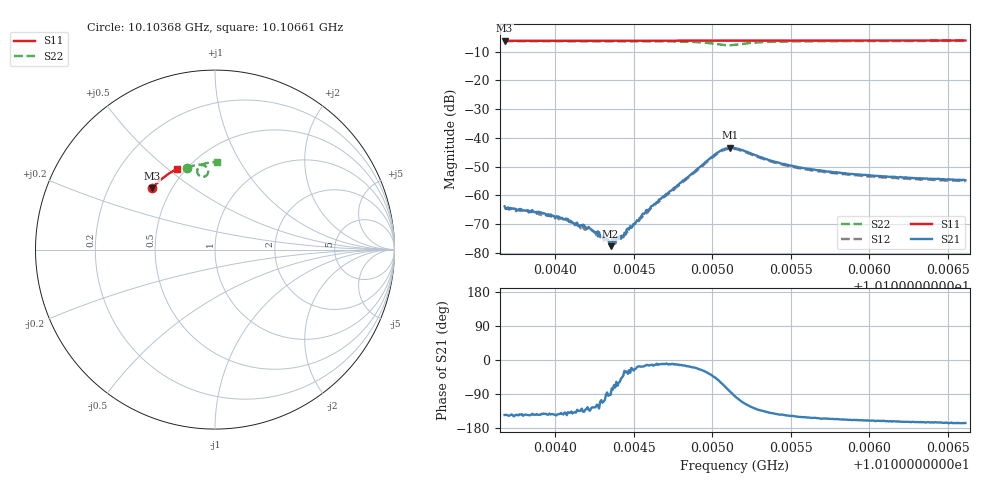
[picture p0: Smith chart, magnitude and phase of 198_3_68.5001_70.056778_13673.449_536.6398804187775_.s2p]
#  HZ  S  RI  R  50.00
! Rohde & Schwarz Vector Network Analyzer
! Rohde-Schwarz,ZNB20-2Port,1311601062101988,3.16
! Created: UTC 3/20/2024, 5:12:38 PM
! freq[Hz]  re:S11  im:S11  re:S21  im:S21  re:S12  im:S12  re:S22  im:S22
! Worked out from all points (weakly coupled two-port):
!   401 points, 10.10368 GHz to 10.10661 GHz, reference 50 ohm
!   highest |S21| = -43.37 dB at 10.10511 GHz (marker M1); lowest = -77.7 dB at 10.10435 GHz (marker M2)
!   lowest |S11| = -6.2 dB at 10.10368 GHz (marker M3), VSWR 2.92, Z = 19.5 + j17.5 ohm
!   |S11| at or under -10 dB: nowhere
!   |S22| runs from -7.7 to -6.2 dB; largest |S21 - S12| = 0.0007
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1.0103676e10  -0.3521 0.3405  -0.000528 -0.000367  -0.000424 -0.00038  -0.1587 0.4551
1.0103896e10  -0.3432 0.3506  -0.000421 -0.0003  -0.000354 -0.000299  -0.1444 0.4604
1.0103992e10  -0.3392 0.3546  -0.000354 -0.000252  -0.000318 -0.000288  -0.1379 0.4626
1.010408e10  -0.3354 0.3585  -0.000286 -0.000261  -0.000264 -0.000251  -0.1319 0.4645
1.0104116e10  -0.334 0.3602  -0.000248 -0.000217  -0.000237 -0.000238  -0.1292 0.4653
1.0104168e10  -0.3317 0.3624  -0.000185 -0.000235  -0.000197 -0.00024  -0.1257 0.4664
1.0104285e10  -0.3267 0.3674  -6.27e-05 -0.000175  -7.95e-05 -0.000186  -0.117 0.4687
1.0104322e10  -0.325 0.369  -2.92e-06 -0.000168  -5.77e-06 -0.000177  -0.1141 0.4693
1.0104337e10  -0.3242 0.3695  -1.41e-05 -0.00017  3.81e-07 -0.000147  -0.113 0.4695
1.0104351e10  -0.3238 0.37  -4.61e-06 -0.00013  2.9e-05 -0.000142  -0.1118 0.4697
1.0104432e10  -0.3202 0.3734  0.000139 -0.000123  0.000131 -0.000132  -0.1053 0.471
1.0104461e10  -0.3188 0.3746  0.000213 -0.000157  0.000196 -0.000126  -0.1028 0.4715
1.0104564e10  -0.3141 0.379  0.000451 -0.000136  0.000441 -9.83e-05  -0.0936 0.4727
1.010466e10  -0.3098 0.3828  0.00083 -0.000165  0.000773 -6.77e-05  -0.0838 0.4731
1.0105019e10  -0.2929 0.3967  0.00357 -0.00383  0.00373 -0.00332  -0.0382 0.431
1.0105071e10  -0.2906 0.3984  0.00254 -0.00576  0.003 -0.00527  -0.0497 0.4114
1.0105115e10  -0.2885 0.3999  0.000675 -0.00675  0.00127 -0.00638  -0.0704 0.4049
1.0105144e10  -0.2873 0.4011  -0.000681 -0.0066  -2.89e-05 -0.0064  -0.0837 0.409
1.0105386e10  -0.2759 0.4102  -0.00303 -0.00251  -0.00274 -0.00263  -0.0869 0.4637
1.0105636e10  -0.2635 0.419  -0.00253 -0.0013  -0.00229 -0.00148  -0.0625 0.4775
1.0106128e10  -0.2385 0.4352  -0.00198 -0.000651  -0.00185 -0.000806  -0.0242 0.4859
1.0106612e10  -0.2127 0.4493  -0.00178 -0.000434  -0.00169 -0.000575  0.00932 0.4885
